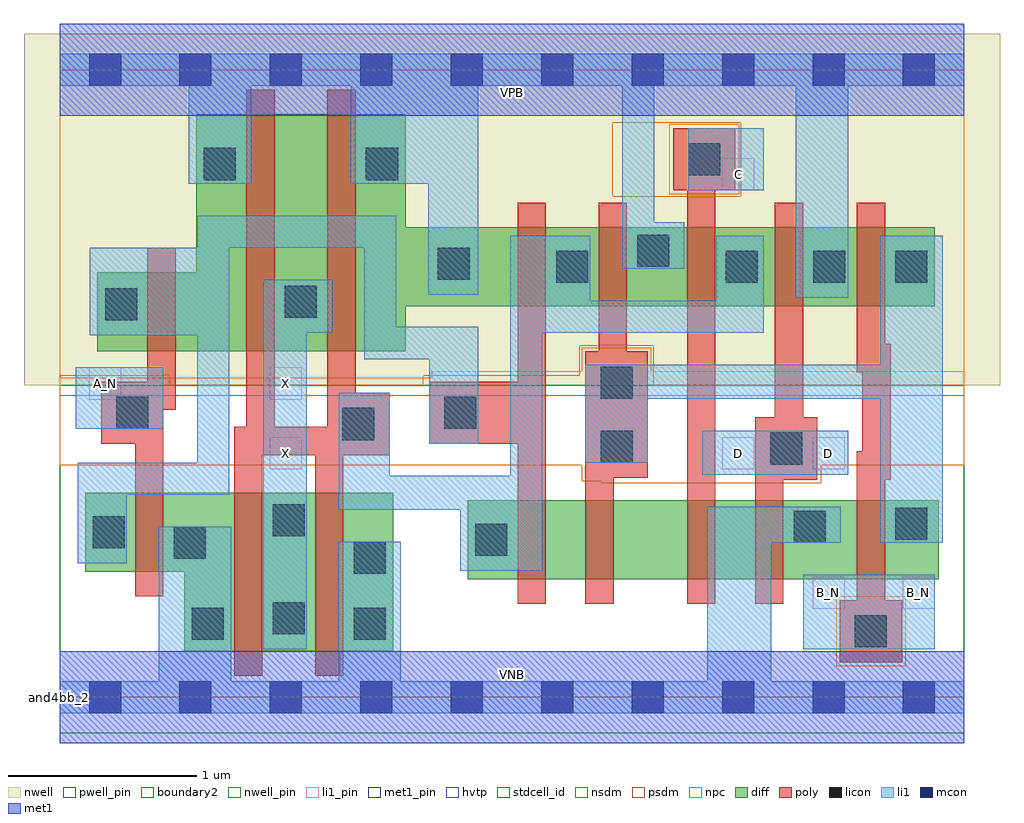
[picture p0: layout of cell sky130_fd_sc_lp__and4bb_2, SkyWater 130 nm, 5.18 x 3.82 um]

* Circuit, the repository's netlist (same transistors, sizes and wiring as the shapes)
* Copyright 2020 The SkyWater PDK Authors
*
* Licensed under the Apache License, Version 2.0 (the "License");
* you may not use this file except in compliance with the License.
* You may obtain a copy of the License at
*
*     https://www.apache.org/licenses/LICENSE-2.0
*
* Unless required by applicable law or agreed to in writing, software
* distributed under the License is distributed on an "AS IS" BASIS,
* WITHOUT WARRANTIES OR CONDITIONS OF ANY KIND, either express or implied.
* See the License for the specific language governing permissions and
* limitations under the License.
*
* SPDX-License-Identifier: Apache-2.0

.SUBCKT sky130_fd_sc_lp__and4bb_2 A_N B_N C D VGND VNB VPB VPWR X
*.PININFO A_N:I B_N:I C:I D:I VGND:I VNB:I VPB:I VPWR:I X:O
MMP0 y A VPWR VPB sky130_fd_pr__pfet_01v8_hvt m=1 w=0.42U l=0.15U mult=1 sa=0.265
+ sb=0.265 sd=0.28 area=0.063 perim=1.14
MMP1 y B VPWR VPB sky130_fd_pr__pfet_01v8_hvt m=1 w=0.42U l=0.15U mult=1 sa=0.265
+ sb=0.265 sd=0.28 area=0.063 perim=1.14
MMP2 y C VPWR VPB sky130_fd_pr__pfet_01v8_hvt m=1 w=0.42U l=0.15U mult=1 sa=0.265
+ sb=0.265 sd=0.28 area=0.063 perim=1.14
MMP3 y D VPWR VPB sky130_fd_pr__pfet_01v8_hvt m=1 w=0.42U l=0.15U mult=1 sa=0.265
+ sb=0.265 sd=0.28 area=0.063 perim=1.14
MMIP0 A A_N VPWR VPB sky130_fd_pr__pfet_01v8_hvt m=1 w=0.42U l=0.15U mult=1 sa=0.265
+ sb=0.265 sd=0.28 area=0.063 perim=1.14
MMIP1 B B_N VPWR VPB sky130_fd_pr__pfet_01v8_hvt m=1 w=0.42U l=0.15U mult=1 sa=0.265
+ sb=0.265 sd=0.28 area=0.063 perim=1.14
MMIP2 X y VPWR VPB sky130_fd_pr__pfet_01v8_hvt m=2 w=1.26U l=0.15U mult=1 sa=0.265
+ sb=0.265 sd=0.28 area=0.063 perim=1.14
MMN0 y A sndA VNB sky130_fd_pr__nfet_01v8 m=1 w=0.42U l=0.15U mult=1 sa=0.265 sb=0.265
+ sd=0.28 area=0.063 perim=1.14
MMN1 sndA B sndB VNB sky130_fd_pr__nfet_01v8 m=1 w=0.42U l=0.15U mult=1 sa=0.265
+ sb=0.265 sd=0.28 area=0.063 perim=1.14
MMN2 sndB C sndC VNB sky130_fd_pr__nfet_01v8 m=1 w=0.42U l=0.15U mult=1 sa=0.265
+ sb=0.265 sd=0.28 area=0.063 perim=1.14
MMN3 sndC D VGND VNB sky130_fd_pr__nfet_01v8 m=1 w=0.42U l=0.15U mult=1 sa=0.265
+ sb=0.265 sd=0.28 area=0.063 perim=1.14
MMIN0 A A_N VGND VNB sky130_fd_pr__nfet_01v8 m=1 w=0.42U l=0.15U mult=1 sa=0.265
+ sb=0.265 sd=0.28 area=0.063 perim=1.14
MMIN1 B B_N VGND VNB sky130_fd_pr__nfet_01v8 m=1 w=0.42U l=0.15U mult=1 sa=0.265
+ sb=0.265 sd=0.28 area=0.063 perim=1.14
MMIN2 X y VGND VNB sky130_fd_pr__nfet_01v8 m=2 w=0.84U l=0.15U mult=1 sa=0.265
+ sb=0.265 sd=0.28 area=0.063 perim=1.14
.ENDS sky130_fd_sc_lp__and4bb_2

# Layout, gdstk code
import gdstk
lib = gdstk.Library(unit=1e-6, precision=1e-09)
def R(c, l, rs):  # rectangles x0, y0, x1, y1
    for r in rs: c.add(gdstk.rectangle(r[:2], r[2:], *l))
def A(c, l, x, y, w, h, nx, ny, dx, dy):  # array of equal rectangles
    R(c, l, [(x+i*dx, y+j*dy, x+i*dx+w, y+j*dy+h) for i in range(nx) for j in range(ny)])
def P(c, l, *ps):  # polygons
    for p in ps: c.add(gdstk.Polygon(p, *l))
nwell_pin = (64, 16)
nwell = (64, 20)
diff = (65, 20)
poly = (66, 20)
licon = (66, 44)
li1_pin = (67, 16)
li1 = (67, 20)
mcon = (67, 44)
met1_pin = (68, 16)
met1 = (68, 20)
hvtp = (78, 44)
stdcell_id = (81, 4)
nsdm = (93, 44)
psdm = (94, 20)
npc = (95, 20)
pwell_pin = (122, 16)
boundary2 = (236, 0)

sky130_fd_sc_lp__and4bb_ = lib.new_cell('sky130_fd_sc_lp__and4bb_2')
R(sky130_fd_sc_lp__and4bb_, nwell_pin, [(0,3.085,4.8,3.33)])
R(sky130_fd_sc_lp__and4bb_, nwell, [(-0.19,1.655,4.99,3.52)])
R(sky130_fd_sc_lp__and4bb_, diff, [(2.165,0.625,4.665,1.045)])
P(sky130_fd_sc_lp__and4bb_, diff, [(1.77,1.085),(0.135,1.085),(0.135,0.665),(0.66,0.665),(0.66,0.245),(1.77,0.245)],
  [(4.645,2.495),(1.835,2.495),(1.835,3.095),(0.725,3.095),(0.725,2.255),(0.2,2.255),(0.2,1.835),(1.835,1.835),(1.835,2.075),(4.645,2.075)])
R(sky130_fd_sc_lp__and4bb_, poly, [(4.14,0.185,4.47,0.515)])
P(sky130_fd_sc_lp__and4bb_, poly, [(0.615,2.385),(0.465,2.385),(0.465,1.675),(0.22,1.675),(0.22,1.345),(0.4,1.345),(0.4,0.535),(0.55,0.535),(0.55,1.525),(0.615,1.525)],
  [(1.75,1.615),(1.57,1.615),(1.57,3.225),(1.42,3.225),(1.42,1.435),(1.14,1.435),(1.14,3.225),(0.99,3.225),(0.99,1.435),(0.925,1.435),(0.925,0.115),(1.075,0.115),(1.075,1.285),(1.355,1.285),(1.355,0.115),(1.505,0.115),(1.505,1.285),(1.75,1.285)],
  [(2.58,2.625),(2.43,2.625),(2.43,1.675),(1.96,1.675),(1.96,1.345),(2.43,1.345),(2.43,0.495),(2.58,0.495)],
  [(3.12,1.835),(3.01,1.835),(3.01,2.625),(2.86,2.625),(2.86,1.835),(2.79,1.835),(2.79,0.495),(2.94,0.495),(2.94,1.165),(3.12,1.165)],
  [(3.585,3.02),(3.255,3.02),(3.255,2.69),(3.33,2.69),(3.33,0.495),(3.48,0.495),(3.48,2.69),(3.585,2.69)],
  [(4.02,1.485),(3.945,1.485),(3.945,2.625),(3.795,2.625),(3.795,1.485),(3.69,1.485),(3.69,0.495),(3.84,0.495),(3.84,1.155),(4.02,1.155)],
  [(4.41,1.875),(4.38,1.875),(4.38,2.625),(4.23,2.625),(4.23,1.725),(4.26,1.725),(4.26,1.305),(4.23,1.305),(4.23,0.515),(4.38,0.515),(4.38,1.155),(4.41,1.155)])
R(sky130_fd_sc_lp__and4bb_, licon, [(4.22,0.265,4.39,0.435), (0.7,0.305,0.87,0.475), (1.56,0.305,1.73,0.475), (1.13,0.335,1.3,0.505), (1.56,0.655,1.73,0.825), (0.605,0.735,0.775,0.905), (2.205,0.75,2.375,0.92), (0.175,0.79,0.345,0.96), (3.895,0.82,4.065,0.99), (4.435,0.835,4.605,1.005), (1.13,0.855,1.3,1.025), (3.77,1.235,3.94,1.405), (2.87,1.245,3.04,1.415), (1.5,1.365,1.67,1.535), (0.3,1.425,0.47,1.595), (2.04,1.425,2.21,1.595), (2.87,1.585,3.04,1.755), (0.24,2,0.41,2.17), (1.195,2.015,1.365,2.185), (2.635,2.2,2.805,2.37), (3.535,2.2,3.705,2.37), (4,2.2,4.17,2.37), (4.435,2.2,4.605,2.37), (2.005,2.215,2.175,2.385), (3.065,2.285,3.235,2.455), (0.765,2.745,0.935,2.915), (1.625,2.745,1.795,2.915), (3.335,2.77,3.505,2.94)])
R(sky130_fd_sc_lp__and4bb_, li1_pin, [(3.995,0.47,4.165,0.64), (4.475,0.47,4.645,0.64), (1.115,1.21,1.285,1.38), (3.515,1.21,3.685,1.38), (3.995,1.21,4.165,1.38), (0.155,1.58,0.325,1.75), (1.115,1.58,1.285,1.75), (3.515,2.69,3.685,2.86)])
R(sky130_fd_sc_lp__and4bb_, li1, [(3.945,0.255,4.645,0.65), (3.41,1.18,4.145,1.415), (3.43,1.18,4.185,1.415), (0.085,1.425,0.55,1.75), (3.335,2.69,3.735,3.02)])
P(sky130_fd_sc_lp__and4bb_, li1, [(1.08,2.215),(1.445,2.215),(1.445,1.935),(1.31,1.935),(1.31,0.255),(1.08,0.255)],
  [(1.48,0.085),(1.48,0.825),(1.81,0.825),(1.81,0.085),(3.435,0.085),(3.435,1.01),(4.145,1.01),(4.145,0.82),(3.775,0.82),(3.775,0.085),(4.8,0.085),(4.8,-0.085),(0,-0.085),(0,0.085),(0.525,0.085),(0.525,0.905),(0.91,0.905),(0.91,0.085)],
  [(1.75,1.175),(2.39,1.175),(2.39,2.45),(2.815,2.45),(2.815,2.105),(3.485,2.105),(3.485,2.45),(3.735,2.45),(3.735,1.935),(2.56,1.935),(2.56,0.67),(2.125,0.67),(2.125,0.995),(1.48,0.995),(1.48,1.615),(1.75,1.615)],
  [(4.355,1.765),(4.355,2.45),(4.685,2.45),(4.685,0.82),(4.355,0.82),(4.355,1.585),(3.12,1.585),(3.12,1.245),(2.79,1.245),(2.79,1.765)],
  [(4.8,3.415),(0,3.415),(0,3.245),(0.685,3.245),(0.685,2.725),(1.015,2.725),(1.015,3.245),(1.545,3.245),(1.545,2.725),(1.955,2.725),(1.955,2.135),(2.22,2.135),(2.22,3.245),(2.985,3.245),(2.985,2.275),(3.315,2.275),(3.315,2.52),(3.155,2.52),(3.155,3.245),(3.905,3.245),(3.905,2.12),(4.185,2.12),(4.185,3.245),(4.8,3.245)],
  [(2.22,1.965),(1.785,1.965),(1.785,2.555),(0.73,2.555),(0.73,2.385),(0.16,2.385),(0.16,1.92),(0.73,1.92),(0.73,1.245),(0.095,1.245),(0.095,0.71),(0.355,0.71),(0.355,1.075),(0.9,1.075),(0.9,2.385),(1.615,2.385),(1.615,1.795),(1.96,1.795),(1.96,1.345),(2.22,1.345)])
A(sky130_fd_sc_lp__and4bb_, mcon, 0.155, -0.085, 0.17, 0.17, 10, 2, 0.48, 3.33)
R(sky130_fd_sc_lp__and4bb_, met1_pin, [(0,0,4.8,0.245), (0,3.085,4.8,3.33)])
R(sky130_fd_sc_lp__and4bb_, met1, [(0,-0.245,4.8,0.245), (0,3.085,4.8,3.575)])
R(sky130_fd_sc_lp__and4bb_, hvtp, [(0,1.6,4.8,3.33)])
R(sky130_fd_sc_lp__and4bb_, stdcell_id, [(0,0,4.8,3.33)])
R(sky130_fd_sc_lp__and4bb_, nsdm, [(0,-0.19,4.8,1.655)])
P(sky130_fd_sc_lp__and4bb_, psdm, [(4.8,3.52),(3.615,3.52),(3.615,2.66),(2.935,2.66),(2.935,3.05),(3.615,3.05),(3.615,3.52),(0,3.52),(0,1.705),(0.58,1.705),(0.58,1.655),(1.93,1.655),(1.93,1.705),(2.76,1.705),(2.76,1.865),(3.15,1.865),(3.15,1.655),(4.8,1.655)])
R(sky130_fd_sc_lp__and4bb_, npc, [(4.12,0.165,4.49,0.535), (3.235,2.67,3.605,3.04)])
P(sky130_fd_sc_lp__and4bb_, npc, [(4.8,1.73),(3.14,1.73),(3.14,1.855),(2.77,1.855),(2.77,1.73),(1.975,1.73),(1.975,1.695),(0,1.695),(0,1.23),(2.77,1.23),(2.77,1.145),(2.875,1.145),(2.875,1.135),(4.04,1.135),(4.04,1.23),(4.8,1.23)])
R(sky130_fd_sc_lp__and4bb_, pwell_pin, [(0,0,4.8,0.245)])
R(sky130_fd_sc_lp__and4bb_, boundary2, [(0,0,4.8,3.33)])
sky130_fd_sc_lp__and4bb_.add(gdstk.Label('VNB', (2.4,0.123), layer=64, texttype=59))
sky130_fd_sc_lp__and4bb_.add(gdstk.Label('VPB', (2.4,3.208), layer=64, texttype=5))
sky130_fd_sc_lp__and4bb_.add(gdstk.Label('and4bb_2', (0,0), layer=83, texttype=44))
sky130_fd_sc_lp__and4bb_.add(gdstk.Label('VPWR', (2.4,3.208), layer=68, texttype=5))
sky130_fd_sc_lp__and4bb_.add(gdstk.Label('VGND', (2.4,0.123), layer=68, texttype=5))
sky130_fd_sc_lp__and4bb_.add(gdstk.Label('D', (3.6,1.295), layer=67, texttype=5))
sky130_fd_sc_lp__and4bb_.add(gdstk.Label('D', (4.08,1.295), layer=67, texttype=5))
sky130_fd_sc_lp__and4bb_.add(gdstk.Label('A_N', (0.24,1.665), layer=67, texttype=5))
sky130_fd_sc_lp__and4bb_.add(gdstk.Label('C', (3.6,2.775), layer=67, texttype=5))
sky130_fd_sc_lp__and4bb_.add(gdstk.Label('X', (1.2,1.295), layer=67, texttype=5))
sky130_fd_sc_lp__and4bb_.add(gdstk.Label('X', (1.2,1.665), layer=67, texttype=5))
sky130_fd_sc_lp__and4bb_.add(gdstk.Label('B_N', (4.08,0.555), layer=67, texttype=5))
sky130_fd_sc_lp__and4bb_.add(gdstk.Label('B_N', (4.56,0.555), layer=67, texttype=5))

lib.write_gds('sky130_fd_sc_lp__and4bb_2.gds')
